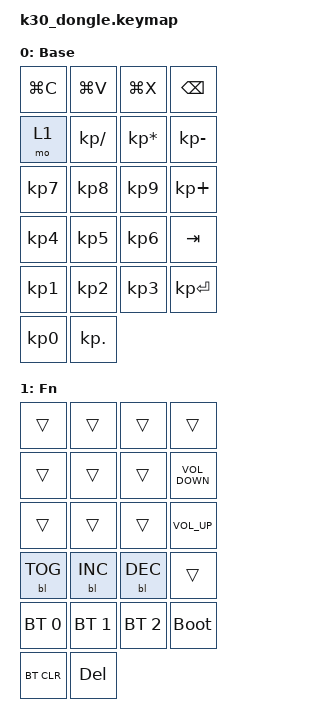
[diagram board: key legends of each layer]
#include <behaviors.dtsi>
#include <dt-bindings/zmk/bt.h>
#include <dt-bindings/zmk/keys.h>
#include <dt-bindings/zmk/backlight.h>

/ {
    keymap {
        compatible = "zmk,keymap";

        default_layer {
            display-name = "Base";
            bindings = <
                &kp LG(C)   &kp LG(V)    &kp LG(X)     &kp BSPC
                &mo 1       &kp KP_SLASH    &kp KP_ASTERISK  &kp KP_MINUS
                &kp KP_N7     &kp KP_N8       &kp KP_N9      &kp KP_PLUS
                &kp KP_N4     &kp KP_N5       &kp KP_N6      &kp TAB
                &kp KP_N1     &kp KP_N2       &kp KP_N3      &kp KP_ENTER
                &kp KP_N0     &kp KP_DOT
            >;
        };

        fn_layer {
            display-name = "Fn";
            bindings = <
                &trans        &trans          &trans         &trans
                &trans        &trans          &trans         &kp K_VOLUME_DOWN
                &trans        &trans          &trans         &kp K_VOLUME_UP
                &bl BL_TOG    &bl BL_INC      &bl BL_DEC     &trans
                &bt BT_SEL 0  &bt BT_SEL 1    &bt BT_SEL 2   &bootloader
                &bt BT_CLR    &kp DEL
            >;
        };
    };
};
